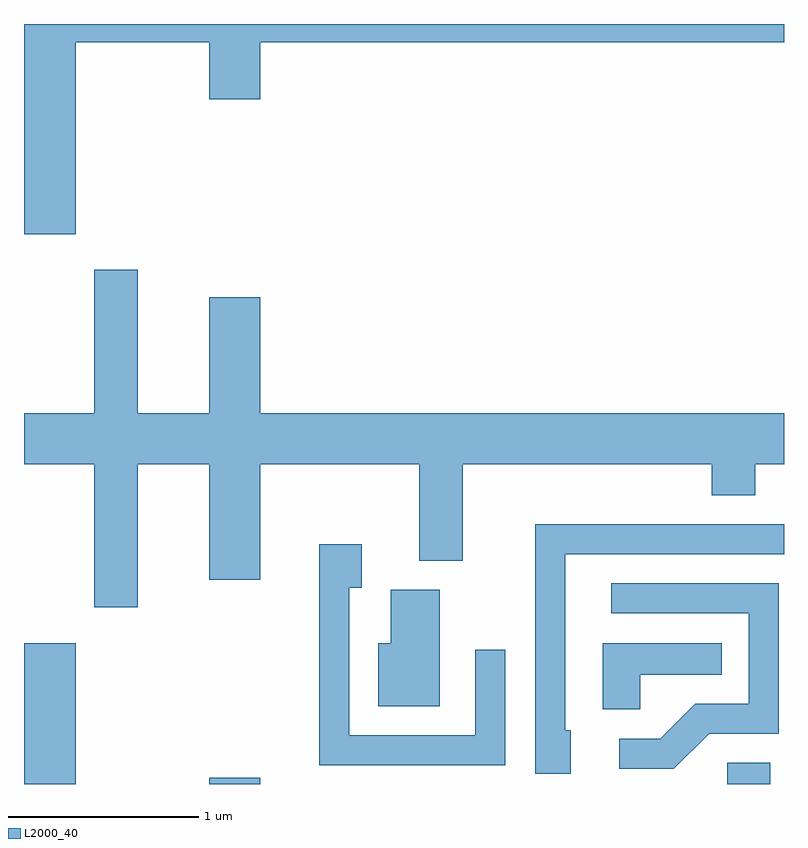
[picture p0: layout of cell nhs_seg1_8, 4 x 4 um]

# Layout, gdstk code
import gdstk
lib = gdstk.Library(unit=1e-6, precision=1e-09)
def R(c, l, rs):  # rectangles x0, y0, x1, y1
    for r in rs: c.add(gdstk.rectangle(r[:2], r[2:], *l))
def P(c, l, *ps):  # polygons
    for p in ps: c.add(gdstk.Polygon(p, *l))
L2000_40 = (2000, 40)

nhs_seg1_8 = lib.new_cell('nhs_seg1_8')
R(nhs_seg1_8, L2000_40, [(185.611,855.712,185.884,856.454), (186.586,855.712,186.854,855.744), (189.311,855.712,189.539,855.824)])
P(nhs_seg1_8, L2000_40, [(185.884,859.616),(186.586,859.616),(186.586,859.316),(186.854,859.316),(186.854,859.616),(189.611,859.616),(189.611,859.712),(185.611,859.712),(185.611,858.606),(185.884,858.606)],
  [(186.209,857.396),(186.586,857.396),(186.586,856.786),(186.854,856.786),(186.854,857.396),(187.691,857.396),(187.691,856.886),(187.919,856.886),(187.919,857.396),(189.231,857.396),(189.231,857.231),(189.459,857.231),(189.459,857.396),(189.611,857.396),(189.611,857.664),(186.854,857.664),(186.854,858.274),(186.586,858.274),(186.586,857.664),(186.209,857.664),(186.209,858.419),(185.981,858.419),(185.981,857.664),(185.611,857.664),(185.611,857.396),(185.981,857.396),(185.981,856.641),(186.209,856.641)],
  [(188.489,855.994),(188.459,855.994),(188.459,856.921),(189.611,856.921),(189.611,857.079),(188.301,857.079),(188.301,855.766),(188.489,855.766)],
  [(188.144,856.418),(187.986,856.418),(187.986,855.969),(187.324,855.969),(187.324,856.746),(187.389,856.746),(187.389,856.974),(187.166,856.974),(187.166,855.811),(188.144,855.811)],
  [(189.217,855.976),(189.584,855.976),(189.584,856.769),(188.703,856.769),(188.703,856.611),(189.426,856.611),(189.426,856.134),(189.144,856.134),(188.959,855.949),(188.743,855.949),(188.743,855.791),(189.032,855.791)],
  [(187.799,856.734),(187.541,856.734),(187.541,856.454),(187.476,856.454),(187.476,856.121),(187.799,856.121)],
  [(188.854,856.286),(189.283,856.286),(189.283,856.454),(188.656,856.454),(188.656,856.106),(188.854,856.106)])

lib.write_gds('nhs_seg1_8.gds')
